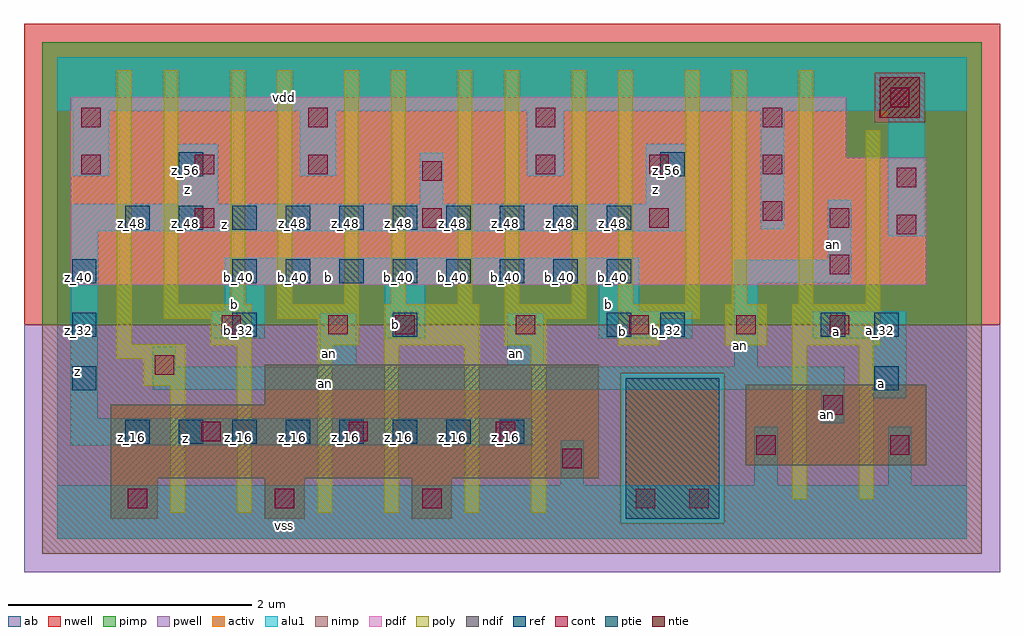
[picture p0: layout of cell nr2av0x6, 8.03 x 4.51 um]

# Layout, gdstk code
import gdstk
lib = gdstk.Library(unit=1e-6, precision=2.5e-09)
def R(c, l, rs):  # rectangles x0, y0, x1, y1
    for r in rs: c.add(gdstk.rectangle(r[:2], r[2:], *l))
def A(c, l, x, y, w, h, nx, ny, dx, dy):  # array of equal rectangles
    R(c, l, [(x+i*dx, y+j*dy, x+i*dx+w, y+j*dy+h) for i in range(nx) for j in range(ny)])
ndif = (3, 0)
pdif = (4, 0)
ntie = (5, 0)
ptie = (6, 0)
ref = (24, 0)
cont = (25, 0)
pwell = (41, 0)
nwell = (42, 0)
activ = (43, 0)
pimp = (44, 0)
nimp = (45, 0)
poly = (46, 0)
alu1 = (49, 0)
ab = (63, 0)

nr2av0x6 = lib.new_cell('nr2av0x6')
R(nr2av0x6, ndif, [(0.44,0.165,0.825,0.495), (1.705,0.165,2.035,0.495), (2.915,0.165,3.245,0.495), (0.44,0.495,4.455,1.1), (5.665,0.605,7.15,1.265), (1.705,1.1,4.455,1.43)])
R(nr2av0x6, pdif, [(0.11,2.09,7.15,3.135), (0.11,3.135,6.49,3.63)])
R(nr2av0x6, ntie, [(6.765,3.465,7.095,3.795)])
R(nr2av0x6, ptie, [(4.675,0.165,5.445,1.32)])
A(nr2av0x6, ref, 0.56, 0.78, 0.2, 0.2, 8, 1, 0.44, 0)
A(nr2av0x6, ref, 0.12, 1.66, 0.2, 0.2, 3, 1, 1.32, 0)
A(nr2av0x6, ref, 1.44, 2.1, 0.2, 0.2, 8, 1, 0.44, 0)
A(nr2av0x6, ref, 0.56, 2.54, 0.2, 0.2, 10, 1, 0.44, 0)
R(nr2av0x6, ref, [(0.12,1.22,0.32,1.42), (6.72,1.22,6.92,1.42), (4.52,1.66,4.72,1.86), (4.96,1.66,5.16,1.86), (6.28,1.66,6.48,1.86), (6.72,1.66,6.92,1.86), (0.12,2.1,0.32,2.3), (1,2.98,1.2,3.18), (4.96,2.98,5.16,3.18)])
A(nr2av0x6, cont, 0.58, 0.25, 0.16, 0.16, 3, 1, 1.21, 0)
A(nr2av0x6, cont, 1.185, 0.8, 0.16, 0.16, 3, 1, 1.21, 0)
A(nr2av0x6, cont, 1.13, 2.56, 0.16, 0.16, 3, 1, 1.87, 0)
A(nr2av0x6, cont, 0.195, 3, 0.16, 0.16, 3, 1, 0.935, 0)
A(nr2av0x6, cont, 3.935, 3, 0.16, 0.16, 3, 1, 0.935, 0)
A(nr2av0x6, cont, 0.195, 3.385, 0.16, 0.16, 4, 1, 1.87, 0)
R(nr2av0x6, cont, [(4.76,0.25,4.92,0.41), (5.2,0.25,5.36,0.41), (4.155,0.58,4.315,0.74), (5.75,0.69,5.91,0.85), (6.85,0.69,7.01,0.85), (6.3,1.02,6.46,1.18), (0.8,1.35,0.96,1.51), (1.35,1.68,1.51,1.84), (2.23,1.68,2.39,1.84), (2.78,1.68,2.94,1.84), (3.77,1.68,3.93,1.84), (4.705,1.68,4.865,1.84), (5.585,1.68,5.745,1.84), (6.355,1.68,6.515,1.84), (6.355,2.175,6.515,2.335), (6.905,2.505,7.065,2.665), (6.355,2.56,6.515,2.72), (5.805,2.615,5.965,2.775), (6.905,2.89,7.065,3.05), (3,2.945,3.16,3.105), (6.85,3.55,7.01,3.71)])
R(nr2av0x6, pwell, [(-0.275,-0.275,7.755,1.76)])
R(nr2av0x6, nwell, [(-0.275,1.76,7.755,4.235)])
R(nr2av0x6, activ, [(0.44,0.165,0.825,0.495), (1.705,0.165,2.035,0.495), (2.915,0.165,3.245,0.495), (4.675,0.165,5.445,1.32), (0.44,0.495,4.455,1.1), (5.665,0.605,7.15,1.265), (1.705,1.1,4.455,1.43), (0.11,2.09,7.15,3.135), (0.11,3.135,6.49,3.63), (6.765,3.465,7.095,3.795)])
R(nr2av0x6, pimp, [(4.635,0.125,5.485,1.36), (-0.125,1.76,7.605,3.425), (-0.125,3.425,6.725,3.835), (7.135,3.425,7.605,3.835), (-0.125,3.835,7.605,4.085)])
R(nr2av0x6, nimp, [(-0.125,-0.125,7.605,0.125), (-0.125,0.125,4.635,1.36), (5.485,0.125,7.605,1.36), (-0.125,1.36,7.605,1.76), (6.725,3.425,7.135,3.835)])
R(nr2av0x6, poly, [(0.93,0.215,1.05,1.26), (1.48,0.215,1.6,1.59), (2.14,0.215,2.26,1.59), (2.69,0.215,2.81,1.59), (3.35,0.215,3.47,1.59), (3.9,0.215,4.02,1.59), (6.045,0.325,6.165,1.59), (6.595,0.325,6.715,1.59), (0.71,1.26,1.05,1.48), (0.49,1.48,1.05,1.6), (1.26,1.59,1.6,1.81), (2.14,1.59,2.48,1.81), (2.69,1.59,3.47,1.93), (3.68,1.59,4.02,1.81), (4.615,1.59,4.955,1.81), (5.495,1.59,5.835,1.93), (6.045,1.59,6.77,1.93), (0.49,1.6,0.61,3.855), (0.875,1.81,1.6,1.93), (1.81,1.81,2.48,1.93), (3.68,1.81,4.35,1.93), (4.615,1.81,5.285,1.93), (0.875,1.93,0.995,3.855), (1.425,1.93,1.545,3.855), (1.81,1.93,1.93,3.855), (2.36,1.93,2.48,3.855), (2.745,1.93,2.865,3.855), (3.295,1.93,3.415,3.855), (3.68,1.93,3.8,3.855), (4.23,1.93,4.35,3.855), (4.615,1.93,4.735,3.855), (5.165,1.93,5.285,3.855), (5.55,1.93,5.67,3.855), (6.1,1.93,6.22,3.855), (6.65,1.93,6.77,3.36)])
A(nr2av0x6, alu1, 0.125, 2.985, 0.3, 0.535, 3, 1, 1.87, 0)
R(nr2av0x6, alu1, [(0,0,7.48,0.44), (4.14,0.44,4.33,0.81), (5.735,0.44,5.925,0.92), (6.835,0.44,7.025,0.92), (0.11,0.77,3.905,0.99), (6.285,0.95,6.475,1.225), (0.11,0.99,0.33,2.53), (6.71,1.155,6.985,1.65), (0.785,1.225,6.475,1.415), (0.785,1.415,0.975,1.58), (2.16,1.415,2.46,1.855), (3.7,1.415,4,1.855), (5.57,1.415,5.76,2.105), (1.265,1.65,1.705,1.87), (2.695,1.65,3.025,2.09), (4.455,1.65,5.225,1.87), (6.215,1.65,6.985,1.87), (1.375,1.87,1.705,2.09), (4.455,1.87,4.785,2.09), (1.375,2.09,4.785,2.31), (5.57,2.105,6.53,2.295), (6.34,2.295,6.53,2.79), (6.835,2.49,7.135,3.52), (0.11,2.53,5.17,2.75), (5.79,2.545,5.98,3.52), (0.99,2.75,1.32,3.245), (2.985,2.75,3.175,3.175), (4.84,2.75,5.17,3.245), (0,3.52,7.48,3.96)])
R(nr2av0x6, ab, [(0,0,7.48,3.96)])
nr2av0x6.add(gdstk.Label('vss', (1.87,0.11), layer=49, texttype=0))
nr2av0x6.add(gdstk.Label('a', (6.7775,1.2775), layer=49, texttype=0))
nr2av0x6.add(gdstk.Label('an', (6.3325,1.0175), layer=49, texttype=0))
nr2av0x6.add(gdstk.Label('z', (1.0575,0.825), layer=49, texttype=0))
nr2av0x6.add(gdstk.Label('an', (2.2075,1.2725), layer=49, texttype=0))
nr2av0x6.add(gdstk.Label('a', (6.4075,1.705), layer=49, texttype=0))
nr2av0x6.add(gdstk.Label('an', (5.6175,1.5875), layer=49, texttype=0))
nr2av0x6.add(gdstk.Label('b', (4.6475,1.705), layer=49, texttype=0))
nr2av0x6.add(gdstk.Label('an', (3.775,1.525), layer=49, texttype=0))
nr2av0x6.add(gdstk.Label('b', (4.5375,1.925), layer=49, texttype=0))
nr2av0x6.add(gdstk.Label('b', (2.7775,1.76), layer=49, texttype=0))
nr2av0x6.add(gdstk.Label('an', (2.235,1.525), layer=49, texttype=0))
nr2av0x6.add(gdstk.Label('b', (1.4575,1.925), layer=49, texttype=0))
nr2av0x6.add(gdstk.Label('an', (6.3875,2.4175), layer=49, texttype=0))
nr2av0x6.add(gdstk.Label('b', (2.2275,2.145), layer=49, texttype=0))
nr2av0x6.add(gdstk.Label('z', (0.165,1.375), layer=49, texttype=0))
nr2av0x6.add(gdstk.Label('z', (1.375,2.585), layer=49, texttype=0))
nr2av0x6.add(gdstk.Label('z', (4.9225,2.8725), layer=49, texttype=0))
nr2av0x6.add(gdstk.Label('z', (1.0725,2.8725), layer=49, texttype=0))
nr2av0x6.add(gdstk.Label('vdd', (1.87,3.63), layer=49, texttype=0))
nr2av0x6.add(gdstk.Label('a_32', (6.33,1.71), layer=24, texttype=0))
nr2av0x6.add(gdstk.Label('z_16', (0.61,0.83), layer=24, texttype=0))
nr2av0x6.add(gdstk.Label('z_48', (0.61,2.59), layer=24, texttype=0))
nr2av0x6.add(gdstk.Label('a_24', (6.77,1.27), layer=24, texttype=0))
nr2av0x6.add(gdstk.Label('a_32', (6.77,1.71), layer=24, texttype=0))
nr2av0x6.add(gdstk.Label('z_16', (1.05,0.83), layer=24, texttype=0))
nr2av0x6.add(gdstk.Label('z_48', (1.05,2.59), layer=24, texttype=0))
nr2av0x6.add(gdstk.Label('z_56', (1.05,3.03), layer=24, texttype=0))
nr2av0x6.add(gdstk.Label('z_16', (1.49,0.83), layer=24, texttype=0))
nr2av0x6.add(gdstk.Label('b_32', (1.49,1.71), layer=24, texttype=0))
nr2av0x6.add(gdstk.Label('b_40', (1.49,2.15), layer=24, texttype=0))
nr2av0x6.add(gdstk.Label('z_48', (1.49,2.59), layer=24, texttype=0))
nr2av0x6.add(gdstk.Label('z_16', (1.93,0.83), layer=24, texttype=0))
nr2av0x6.add(gdstk.Label('b_40', (1.93,2.15), layer=24, texttype=0))
nr2av0x6.add(gdstk.Label('z_48', (1.93,2.59), layer=24, texttype=0))
nr2av0x6.add(gdstk.Label('z_24', (0.17,1.27), layer=24, texttype=0))
nr2av0x6.add(gdstk.Label('z_32', (0.17,1.71), layer=24, texttype=0))
nr2av0x6.add(gdstk.Label('z_40', (0.17,2.15), layer=24, texttype=0))
nr2av0x6.add(gdstk.Label('z_16', (2.37,0.83), layer=24, texttype=0))
nr2av0x6.add(gdstk.Label('b_40', (2.37,2.15), layer=24, texttype=0))
nr2av0x6.add(gdstk.Label('z_48', (2.37,2.59), layer=24, texttype=0))
nr2av0x6.add(gdstk.Label('z_16', (2.81,0.83), layer=24, texttype=0))
nr2av0x6.add(gdstk.Label('b_32', (2.81,1.71), layer=24, texttype=0))
nr2av0x6.add(gdstk.Label('b_40', (2.81,2.15), layer=24, texttype=0))
nr2av0x6.add(gdstk.Label('z_48', (2.81,2.59), layer=24, texttype=0))
nr2av0x6.add(gdstk.Label('z_16', (3.25,0.83), layer=24, texttype=0))
nr2av0x6.add(gdstk.Label('b_40', (3.25,2.15), layer=24, texttype=0))
nr2av0x6.add(gdstk.Label('z_48', (3.25,2.59), layer=24, texttype=0))
nr2av0x6.add(gdstk.Label('z_16', (3.69,0.83), layer=24, texttype=0))
nr2av0x6.add(gdstk.Label('b_40', (3.69,2.15), layer=24, texttype=0))
nr2av0x6.add(gdstk.Label('z_48', (3.69,2.59), layer=24, texttype=0))
nr2av0x6.add(gdstk.Label('b_40', (4.13,2.15), layer=24, texttype=0))
nr2av0x6.add(gdstk.Label('z_48', (4.13,2.59), layer=24, texttype=0))
nr2av0x6.add(gdstk.Label('b_32', (4.57,1.71), layer=24, texttype=0))
nr2av0x6.add(gdstk.Label('b_40', (4.57,2.15), layer=24, texttype=0))
nr2av0x6.add(gdstk.Label('z_48', (4.57,2.59), layer=24, texttype=0))
nr2av0x6.add(gdstk.Label('b_32', (5.01,1.71), layer=24, texttype=0))
nr2av0x6.add(gdstk.Label('z_56', (5.01,3.03), layer=24, texttype=0))

lib.write_gds('nr2av0x6.gds')
